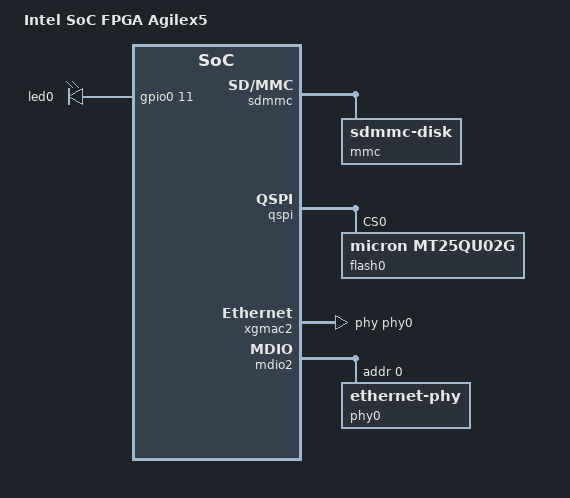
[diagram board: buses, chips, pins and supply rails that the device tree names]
/*
 * Copyright (c) 2024, Intel Corporation.
 *
 * SPDX-License-Identifier: Apache-2.0
 */

/dts-v1/;

#include "intel_socfpga_agilex5_socdk_common.dtsi"

/ {
	model = "Intel SoC FPGA Agilex5";
	compatible = "intel,socfpga-agilex5";

	aliases {
		led0 = &led0;
	};

	leds {
		compatible = "gpio-leds";

		led0: led0 {
			gpios = <&gpio0 11 GPIO_ACTIVE_HIGH>;
		};
	};
};

&sdmmc {
	status = "okay";

	mmc {
		/*SD Disk Access */
		compatible = "zephyr,sdmmc-disk";
		disk-name = "SD";
		status = "okay";
	};
};

&qspi {
	status = "okay";

	flash0: flash@0 {
		compatible = "micron,mt25qu02g";
		reg = <0>;
		size = <DT_SIZE_M(256*8)>; /* in bits */
		sector-size = <65536>;
		subsector-size = <4096>;
		page-size = <256>;
		address-byte = <2>;
		bytes-per-block = <16>;
		status = "okay";
	};
};

&xgmac2 {
	full-duplex-mode-en;
	num-dma-ch = <1>;
	num-tx-queues = <1>;
	num-rx-queues = <1>;
	num-tc = <1>;
	dma-ch-rdrl = <128>;
	dma-ch-tdrl = <128>;
	max-speed = <1000>;
	max-frame-size = <9018>;
	jumbo-pkt-en;
	zephyr,random-mac-address;
	phy-handle = <&phy0>;
};

&mdio2 {
	csr-clock-indx = <4>;

	phy0: phy@0 {
		compatible = "ethernet-phy";
		reg = <0>;
	};
};

